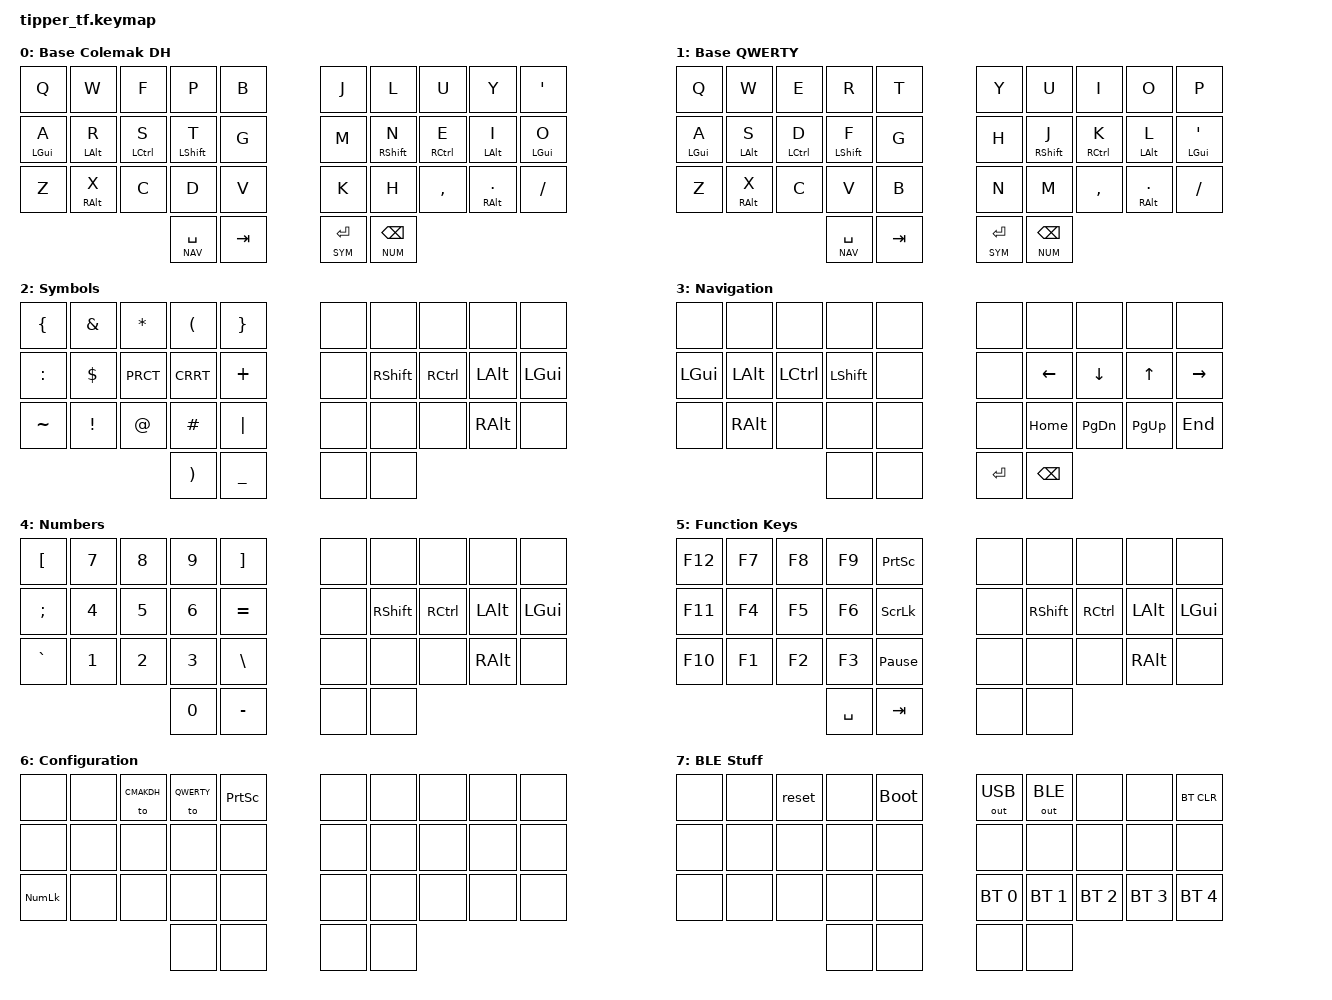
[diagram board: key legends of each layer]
/*
 * Copyright (c) 2021 weteor
 *
 * SPDX-License-Identifier: MIT
 */

#include <behaviors.dtsi>
#include <dt-bindings/zmk/keys.h>
#include <dt-bindings/zmk/bt.h>
#include <dt-bindings/zmk/outputs.h>

#define CMAKDH 0
#define QWERTY 1
#define SYM    2
#define NAV    3
#define NUM    4
#define FUN    5
#define CFG    6
#define BLE    7

// repeating space/backspace
&lt { quick_tap_ms = <200>; };

&caps_word {
    continue-list = <UNDERSCORE MINUS>;
};

/ {
    combos {
        compatible = "zmk,combos";

        combo_semi {
            timeout-ms = <50>;
            key-positions = <0 10>;
            layers = <CMAKDH QWERTY>;
            bindings = <&kp SEMI>;
            };
        combo_lBracket {
            timeout-ms = <50>;
            key-positions = <1 11>;
            layers = <CMAKDH QWERTY>;
            bindings = <&kp LEFT_BRACKET>;
            };
        combo_lBrace {
            timeout-ms = <50>;
            key-positions = <2 12>;
            layers = <CMAKDH QWERTY>;
            bindings = <&kp LEFT_BRACE>;
            };
        combo_lParanthesis {
            timeout-ms = <50>;
            key-positions = <3 13>;
            layers = <CMAKDH QWERTY>;
            bindings = <&kp LEFT_PARENTHESIS>;
            };
        combo_equal {
            timeout-ms = <50>;
            key-positions = <4 14>;
            layers = <CMAKDH QWERTY>;
            bindings = <&kp EQUAL>;
            };

        combo_asterix {
            timeout-ms = <50>;
            key-positions = <5 15>;
            layers = <CMAKDH QWERTY>;
            bindings = <&kp ASTERISK>;
            };

        combo_rParanthesis {
            timeout-ms = <50>;
            key-positions = <6 16>;
            layers = <CMAKDH QWERTY>;
            bindings = <&kp RIGHT_PARENTHESIS>;
            };
        combo_rBrace {
            timeout-ms = <50>;
            key-positions = <7 17>;
            layers = <CMAKDH QWERTY>;
            bindings = <&kp RIGHT_BRACE>;
            };
        combo_rBracket {
            timeout-ms = <50>;
            key-positions = <8 18>;
            layers = <CMAKDH QWERTY>;
            bindings = <&kp RIGHT_BRACKET>;
            };
        combo_bSlash {
            timeout-ms = <50>;
            key-positions = <9 19>;
            layers = <CMAKDH QWERTY>;
            bindings = <&kp BACKSLASH>;
            };

        combo_tab {
            timeout-ms = <50>;
            key-positions = <1 2>;
            bindings = <&kp TAB>;
            };
        combo_backspace {
            timeout-ms = <50>;
            key-positions = <7 8>;
            bindings = <&kp BACKSPACE>;
            };
        combo_esc {
            timeout-ms = <50>;
            key-positions = <0 1>;
            bindings = <&kp ESCAPE>;
            };

        combo_funLayer {
            timeout-ms = <50>;
            key-positions = <32 33>;
            bindings = <&mo FUN>;
            };

        combo_cfgLayer {
            timeout-ms = <50>;
            key-positions = <31 32>;
            bindings = <&mo CFG>;
            };

        combo_bleLayer {
            timeout-ms = <50>;
            key-positions = <30 31>;
            bindings = <&mo BLE>;
            };

        combo_capsWord {
            timeout-ms = <50>;
            key-positions = <22 27>;
            bindings = <&caps_word>;
            };

    };

    behaviors {
        hm: homerow_mods {
            compatible = "zmk,behavior-hold-tap";
            label = "homerow mods";
            #binding-cells = <2>;
            tapping-term-ms = <200>;
            flavor = "balanced";
            quick-tap-ms = <0>;
            bindings = <&kp>, <&kp>;
        };
    };
    
// COMBOS
// vertical
// -------------------------------     -------------------------------
// |  Q  |  W  |  E  |  R  |  T  |     |  Y  |  U  |  I  |  O  |  P  | 
// |  /  |  [  |  {  |  (  |  =  |     |  *  |  )  |  }  |  ]  |  \  |  
// |  A  |  S  |  D  |  F  |  G  |     |  H  |  J  |  K  |  L  |  '  | 
//
// others:
// Q + W - escape
// W + E - tab
// I + O - backspace
// C + , - word caps
// both inner thumbs -> Layer CFG
// both left thumbs  -> Layer BLE

    keymap {
        compatible = "zmk,keymap";

        default_layer {
            label = "Base Colemak DH";
// -------------------------------     -------------------------------
// |  Q  |  W  |  F  |  P  |  B  |  -  |  J  |  L  |  U  |  Y  |  '  | 
// |A win|R alt|S ctl|T sft|  G  |     |  M  |N sft|E ctl|I alt|O win| 
// |  Z  |X gr |  C  |  D  |  V  |  -  |  K  |  H  |  ,  |. gr |  /  | 
// ------|  NAV/spc  |    tab    |     |  SYM/ent  |  NUM/bsp  |------
//       -------------------------     -------------------------
            bindings = <
                &kp Q         &kp W         &kp F         &kp P         &kp B                   &kp J         &kp L         &kp U         &kp Y         &kp QUOT
                &hm LGUI A    &hm LALT R    &hm LCTRL S   &hm LSHFT T   &kp G                   &kp M         &hm RSHFT N   &hm RCTRL E   &hm LALT I    &hm LGUI O
                &kp Z         &hm RALT X    &kp C         &kp D         &kp V                   &kp K         &kp H         &kp COMMA     &hm RALT DOT  &kp SLASH
                                                          &lt NAV SPACE &kp TAB                 &lt SYM RET   &lt NUM BSPC
            >;
        };
    
        qwerty_layer {
            label = "Base QWERTY";
// -------------------------------     -------------------------------
// |  Q  |  W  |  E  |  R  |  T  |  -  |  Y  |  U  |  I  |  O  |  P  | 
// |A win|S alt|D ctl|F sft|  G  |     |  H  |J sft|K ctl|L alt|' win| 
// |  Z  |  X  |  C  |  V  |  B  |  -  |  N  |  M  |  ,  |  .  |  /  | 
// ------|  NAV/spc  |    tab    |     |  SYM/ent  |  NUM/bsp  |------
//       -------------------------     -------------------------
            bindings = <
                &kp Q         &kp W         &kp E         &kp R         &kp T                   &kp Y         &kp U         &kp I         &kp O         &kp P
                &hm LGUI A    &hm LALT S    &hm LCTRL D   &hm LSHFT F   &kp G                   &kp H         &hm RSHFT J   &hm RCTRL K   &hm LALT L    &hm LGUI QUOT
                &kp Z         &hm RALT X    &kp C         &kp V         &kp B                   &kp N         &kp M         &kp COMMA     &hm RALT DOT  &kp SLASH
                                                          &lt NAV SPACE &kp TAB                 &lt SYM RET   &lt NUM BSPC
            >;
        };

        sym_layer {
            label = "Symbols";
// -------------------------------     -------------------------------
// |  {  |  &  |  *  |  (  |  }  |  -  |     |     |     |     |     | 
// |  :  |  $  |  %  |  ^  |  +  |     |     | sft | ctl | alt | win | 
// |  ~  |  !  |  @  |  #  |  |  |  -  |     |     |     | gr  |     | 
// ------|           |    CFG    |     |           |           |------
//       -------------------------     -------------------------
            bindings = <
                &kp LBRC      &kp AMPS      &kp ASTRK     &kp LPAR      &kp RBRC                &none         &none         &none         &none         &none
                &kp COLON     &kp DLLR      &kp PRCT      &kp CRRT      &kp PLUS                &none         &kp RSHFT     &kp RCTRL     &kp LALT      &kp LGUI
                &kp TILDE     &kp EXCL      &kp AT        &kp HASH      &kp PIPE                &none         &none         &none         &kp RALT      &none
                                                          &kp RPAR      &kp UNDER               &none         &none
            >;
        };
        
        nav_layer {
            label = "Navigation";
// -------------------------------     -------------------------------
// |     |     |     |     |     |  -  |     |     |     |     |     | 
// |     |     |     |     |     |     |     |left |down | up  |right| 
// |     |     |     |     |     |  -  |     |home |pg dn|pg up| end | 
// ------|           |           |     |    ent    |    bsp    |------
//       -------------------------     -------------------------
            bindings = <
                &none         &none         &none         &none         &none                   &none         &none         &none         &none         &none
                &kp LGUI      &kp LALT      &kp LCTRL     &kp LSHFT     &none                   &none         &kp LEFT      &kp DOWN      &kp UP        &kp RIGHT
                &none         &kp RALT      &none         &none         &none                   &none         &kp HOME      &kp PG_DN     &kp PG_UP     &kp END
                                                          &none         &none                   &kp RET       &kp BSPC
            >;
        };

        num_layer {
            label = "Numbers";
// -------------------------------     -------------------------------
// |  [  |  7  |  8  |  9  |  ]  |  -  |     |     |     |     |     | 
// |  ;  |  4  |  5  |  6  |  =  |     |     | sft | ctl | alt | win | 
// |  `  |  1  |  2  |  3  |  \  |  -  |     |     |     | gr  |     | 
// ------|           |           |     |           |           |------
//       -------------------------     -------------------------
            bindings = <
                &kp LBKT      &kp N7        &kp N8        &kp N9        &kp RBKT                &none         &none         &none         &none         &none
                &kp SEMI      &kp N4        &kp N5        &kp N6        &kp EQUAL               &none         &kp RSHFT     &kp RCTRL     &kp LALT      &kp LGUI
                &kp GRAVE     &kp N1        &kp N2        &kp N3        &kp BSLH                &none         &none         &none         &kp RALT      &none
                                                          &kp N0        &kp MINUS               &none         &none
            >;
        };

        fun_layer {
            label = "Function Keys";
// -------------------------------     -------------------------------
// | F12 |  F7 |  F8 |  F9 |PSCRN|  -  |     |     |     |     |     | 
// | F11 |  F4 |  F5 |  F6 |SLCK |     |     | sft | ctl | alt | win | 
// | F10 |  F1 |  F2 |  F3 |PSBRK|  -  |     |     |     | gr  |     | 
// ------|    spc    |    tab    |     |           |           |------
//       -------------------------     -------------------------
            bindings = <
                &kp F12       &kp F7        &kp F8        &kp F9        &kp PSCRN               &none         &none         &none         &none         &none
                &kp F11       &kp F4        &kp F5        &kp F6        &kp SLCK                &none         &kp RSHFT     &kp RCTRL     &kp LALT      &kp LGUI
                &kp F10       &kp F1        &kp F2        &kp F3        &kp PAUSE_BREAK         &none         &none         &none         &kp RALT      &none
                                                          &kp SPACE     &kp TAB                 &none         &none
            >;
        };

        cfg_layer {
            label = "Configuration";
// -------------------------------     -------------------------------
// |     |     |     |     |     |  -  |PSCRN|     |  ü  |     |     | 
// |  ä  |     |  ß  |     |     |     |     |     |     |     |  oe | 
// |numlk|     |     |     |     |  -  |     |     |     |     |     | 
// ------|           |           |     |           |           |------
//       -------------------------     -------------------------
            bindings = <
                &none         &none         &to CMAKDH    &to QWERTY    &kp PSCRN               &none         &none         &none         &none         &none
                &none         &none         &none         &none         &none                   &none         &none         &none         &none         &none
                &kp KP_NUM    &none         &none         &none         &none                   &none         &none         &none         &none         &none
                                                          &none         &none                   &none         &none
            >;
        };
        
        ble_layer {
            label = "BLE Stuff";
// -------------------------------     -------------------------------
// |     |     |     |     |     |  -  | USB | BLE |     |     |BTCLR| 
// |     |     |     |     |     |     |     |     |     |     |     | 
// |     |     |     |     |     |  -  |BT_0 |BT_1 |BT_2 |BT_3 |BT_4 | 
// ------|           |           |     |           |           |------
//       -------------------------     -------------------------
            bindings = <
                &none         &none         &reset        &none         &bootloader             &out OUT_USB  &out OUT_BLE  &none         &none         &bt BT_CLR
                &none         &none         &none         &none         &none                   &none         &none         &none         &none         &none
                &none         &none         &none         &none         &none                   &bt BT_SEL 0  &bt BT_SEL 1  &bt BT_SEL 2  &bt BT_SEL 3  &bt BT_SEL 4
                                                          &none         &none                   &none         &none
            >;
        };
    };
};


